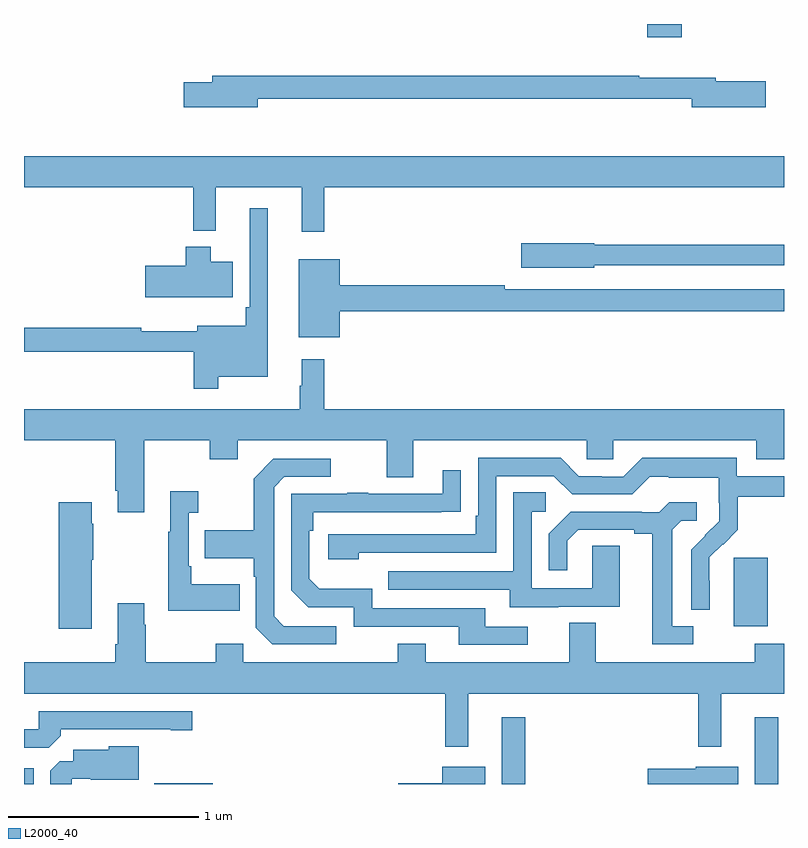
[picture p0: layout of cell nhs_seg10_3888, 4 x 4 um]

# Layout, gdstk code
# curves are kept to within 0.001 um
import gdstk
lib = gdstk.Library(unit=1e-6, precision=1e-09)
def R(c, l, rs):  # rectangles x0, y0, x1, y1
    for r in rs: c.add(gdstk.rectangle(r[:2], r[2:], *l))
def P(c, l, *ps):  # polygons
    for p in ps: c.add(gdstk.Polygon(p, *l))
L2000_40 = (2000, 40)

nhs_seg10_3888 = lib.new_cell('nhs_seg10_3888')
R(nhs_seg10_3888, L2000_40, [(325,1306.5,325.051,1306.582), (325.686,1306.5,325.993,1306.504), (327.515,1306.5,327.637,1306.852), (328.847,1306.5,328.969,1306.852), (328.736,1307.33,328.915,1307.691), (328.28,1310.43,328.463,1310.5)])
P(nhs_seg10_3888, L2000_40, [(326.23,1310.106),(328.514,1310.106),(328.514,1310.063),(328.903,1310.063),(328.903,1310.198),(328.642,1310.198),(328.642,1310.216),(328.238,1310.216),(328.238,1310.227),(325.991,1310.227),(325.991,1310.193),(325.842,1310.193),(325.842,1310.063),(326.23,1310.063)],
  [(326.579,1309.64),(329,1309.64),(329,1309.804),(325,1309.804),(325,1309.64),(325.891,1309.64),(325.891,1309.412),(326.009,1309.412),(326.009,1309.64),(326.462,1309.64),(326.462,1309.407),(326.579,1309.407)],
  [(326.023,1308.644),(326.284,1308.644),(326.284,1309.531),(326.187,1309.531),(326.187,1309.009),(326.167,1309.009),(326.167,1308.913),(325.913,1308.913),(325.913,1308.883),(325.617,1308.883),(325.617,1308.902),(325,1308.902),(325,1308.774),(325.894,1308.774),(325.894,1308.579),(326.023,1308.579)],
  [(328.002,1309.23),(329,1309.23),(329,1309.339),(328.002,1309.339),(328.002,1309.347),(327.618,1309.347),(327.618,1309.217),(328.002,1309.217)],
  [(326.098,1309.249),(325.984,1309.249),(325.984,1309.327),(325.85,1309.327),(325.85,1309.227),(325.638,1309.227),(325.638,1309.061),(326.098,1309.061)],
  [(326.662,1308.988),(329,1308.988),(329,1309.104),(327.53,1309.104),(327.53,1309.124),(326.662,1309.124),(326.662,1309.261),(326.447,1309.261),(326.447,1308.851),(326.662,1308.851)],
  [(325.633,1308.308),(325.978,1308.308),(325.978,1308.209),(326.125,1308.209),(326.125,1308.308),(326.909,1308.308),(326.909,1308.114),(327.049,1308.114),(327.049,1308.308),(327.963,1308.308),(327.963,1308.21),(328.101,1308.21),(328.101,1308.308),(328.853,1308.308),(328.853,1308.209),(329,1308.209),(329,1308.472),(326.579,1308.472),(326.579,1308.736),(326.462,1308.736),(326.462,1308.596),(326.451,1308.596),(326.451,1308.472),(325,1308.472),(325,1308.308),(325.481,1308.308),(325.481,1308.043),(325.493,1308.043),(325.493,1307.931),(325.633,1307.931)],
  [(328.608,1307.57),(328.607,1307.693),(328.677,1307.763),(328.68,1307.76),(328.757,1307.837),(328.757,1308.012),(329,1308.012),(329,1308.12),(328.752,1308.12),(328.752,1308.217),(328.255,1308.217),(328.155,1308.117),(328.04,1308.117),(328.04,1308.12),(327.921,1308.12),(327.825,1308.216),(327.39,1308.216),(327.39,1307.911),(327.377,1307.911),(327.377,1307.814),(326.601,1307.814),(326.601,1307.684),(326.762,1307.684),(326.762,1307.718),(327.486,1307.718),(327.486,1308.12),(327.789,1308.12),(327.885,1308.024),(328.2,1308.024),(328.293,1308.117),(328.393,1308.117),(328.393,1308.113),(328.656,1308.113),(328.656,1307.979),(328.658,1307.979),(328.658,1307.882),(328.512,1307.734),(328.512,1307.416),(328.608,1307.416)],
  [(326.644,1307.331),(326.367,1307.331),(326.316,1307.382),(326.316,1308.063),(326.37,1308.117),(326.614,1308.117),(326.614,1308.213),(326.313,1308.213),(326.208,1308.107),(326.208,1307.835),(325.951,1307.835),(325.951,1307.687),(326.208,1307.687),(326.208,1307.591),(326.22,1307.591),(326.22,1307.322),(326.307,1307.235),(326.644,1307.235)],
  [(327.652,1307.328),(327.427,1307.328),(327.427,1307.424),(326.832,1307.424),(326.832,1307.527),(326.555,1307.527),(326.502,1307.58),(326.502,1307.834),(326.522,1307.834),(326.522,1307.931),(327.299,1307.932),(327.299,1308.151),(327.203,1308.151),(327.203,1308.027),(326.813,1308.027),(326.813,1308.032),(326.701,1308.032),(326.701,1308.027),(326.406,1308.027),(326.406,1307.52),(326.496,1307.43),(326.736,1307.43),(326.736,1307.328),(327.287,1307.328),(327.287,1307.232),(327.652,1307.232)],
  [(326.135,1307.551),(325.879,1307.551),(325.879,1307.647),(325.866,1307.647),(325.866,1307.927),(325.918,1307.927),(325.918,1308.04),(325.769,1308.04),(325.769,1307.827),(325.758,1307.827),(325.758,1307.411),(326.135,1307.411)],
  [(327.811,1307.433),(328.135,1307.433),(328.135,1307.753),(327.99,1307.753),(327.99,1307.529),(327.672,1307.529),(327.672,1307.934),(327.745,1307.934),(327.745,1308.035),(327.576,1308.035),(327.576,1307.619),(326.917,1307.619),(326.917,1307.523),(327.557,1307.523),(327.557,1307.429),(327.811,1307.429)],
  [(328.522,1307.331),(328.411,1307.331),(328.411,1307.839),(328.458,1307.886),(328.54,1307.886),(328.54,1307.983),(328.396,1307.983),(328.344,1307.931),(328.25,1307.931),(328.25,1307.934),(327.878,1307.934),(327.762,1307.818),(327.762,1307.625),(327.859,1307.625),(327.859,1307.781),(327.916,1307.838),(328.211,1307.838),(328.211,1307.816),(328.307,1307.816),(328.307,1307.235),(328.522,1307.235)],
  [(325.357,1307.681),(325.365,1307.681),(325.365,1307.87),(325.357,1307.87),(325.357,1307.983),(325.184,1307.983),(325.184,1307.316),(325.357,1307.316)],
  [(327.337,1306.976),(328.548,1306.976),(328.548,1306.695),(328.669,1306.695),(328.669,1306.976),(329,1306.976),(329,1307.239),(328.846,1307.239),(328.846,1307.14),(328.009,1307.14),(328.009,1307.348),(327.869,1307.348),(327.869,1307.14),(327.115,1307.14),(327.115,1307.239),(326.968,1307.239),(326.968,1307.14),(326.154,1307.14),(326.154,1307.239),(326.008,1307.239),(326.008,1307.14),(325.641,1307.14),(325.641,1307.339),(325.633,1307.339),(325.633,1307.452),(325.493,1307.452),(325.493,1307.236),(325.481,1307.236),(325.481,1307.14),(325,1307.14),(325,1306.976),(327.216,1306.976),(327.216,1306.695),(327.337,1306.695)],
  [(325.193,1306.754),(325.193,1306.788),(325.772,1306.788),(325.772,1306.783),(325.885,1306.783),(325.885,1306.884),(325.077,1306.884),(325.077,1306.788),(325,1306.788),(325,1306.692),(325.131,1306.692)],
  [(325.251,1306.527),(325.351,1306.527),(325.351,1306.523),(325.603,1306.523),(325.603,1306.699),(325.446,1306.699),(325.446,1306.681),(325.259,1306.681),(325.259,1306.62),(325.188,1306.62),(325.139,1306.571),(325.139,1306.5),(325.251,1306.5)],
  [(328.759,1306.591),(328.536,1306.591),(328.536,1306.581),(328.284,1306.581),(328.284,1306.5),(328.759,1306.5)],
  [(327.427,1306.591),(327.2,1306.591),(327.2,1306.503),(326.97,1306.503),(326.97,1306.5),(327.427,1306.5)])

lib.write_gds('nhs_seg10_3888.gds')
